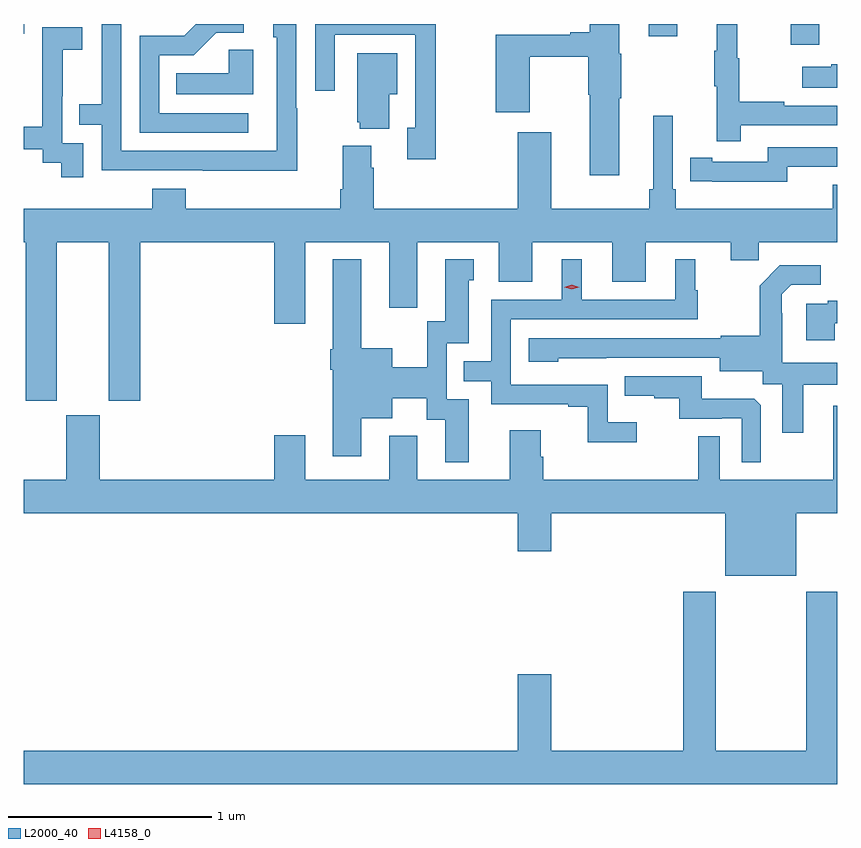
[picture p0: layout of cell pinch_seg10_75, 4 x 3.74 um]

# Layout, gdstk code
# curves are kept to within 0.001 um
import gdstk
lib = gdstk.Library(unit=1e-6, precision=1e-09)
def R(c, l, rs):  # rectangles x0, y0, x1, y1
    for r in rs: c.add(gdstk.rectangle(r[:2], r[2:], *l))
def P(c, l, *ps):  # polygons
    for p in ps: c.add(gdstk.Polygon(p, *l))
L2000_40 = (2000, 40)
L4158_0 = (4158, 0)

pinch_seg10_75 = lib.new_cell('pinch_seg10_75')
R(pinch_seg10_75, L2000_40, [(813.701,1325.262,813.841,1325.364), (813.005,1325.304,813.145,1325.364), (809.931,1325.316,809.934,1325.364)])
P(pinch_seg10_75, L2000_40, [(812.86,1324.999),(812.868,1324.999),(812.868,1325.217),(812.86,1325.217),(812.86,1325.364),(812.714,1325.364),(812.714,1325.323),(812.618,1325.323),(812.618,1325.31),(812.252,1325.31),(812.252,1324.929),(812.418,1324.929),(812.418,1325.202),(812.707,1325.202),(812.707,1325.017),(812.714,1325.017),(812.714,1324.62),(812.86,1324.62)],
  [(813.455,1324.866),(813.931,1324.866),(813.931,1324.962),(813.671,1324.962),(813.671,1324.982),(813.448,1324.982),(813.448,1325.196),(813.44,1325.196),(813.44,1325.364),(813.338,1325.364),(813.338,1325.233),(813.327,1325.233),(813.327,1325.059),(813.338,1325.059),(813.338,1324.788),(813.455,1324.788)],
  [(811.958,1325.364),(811.365,1325.364),(811.365,1325.037),(811.461,1325.037),(811.461,1325.31),(811.857,1325.31),(811.857,1324.854),(811.817,1324.854),(811.817,1324.698),(811.958,1324.698)],
  [(811.036,1324.926),(810.597,1324.926),(810.597,1325.211),(810.766,1325.211),(810.877,1325.322),(811.012,1325.322),(811.012,1325.364),(810.777,1325.364),(810.72,1325.307),(810.501,1325.307),(810.501,1324.83),(811.036,1324.83)],
  [(811.275,1324.949),(811.272,1324.949),(811.272,1325.364),(811.157,1325.364),(811.157,1325.298),(811.176,1325.298),(811.176,1324.74),(810.411,1324.74),(810.411,1325.364),(810.315,1325.364),(810.315,1324.97),(810.205,1324.97),(810.205,1324.869),(810.315,1324.869),(810.315,1324.644),(810.811,1324.644),(810.811,1324.643),(811.275,1324.643)],
  [(810.225,1324.779),(810.12,1324.779),(810.12,1325.009),(810.122,1325.009),(810.122,1325.237),(810.22,1325.237),(810.22,1325.347),(810.022,1325.347),(810.022,1325.141),(810.023,1325.141),(810.023,1324.858),(809.931,1324.858),(809.931,1324.749),(810.024,1324.749),(810.024,1324.681),(810.117,1324.681),(810.117,1324.611),(810.225,1324.611)],
  [(811.06,1325.237),(810.939,1325.237),(810.939,1325.122),(810.682,1325.122),(810.682,1325.018),(811.06,1325.018)],
  [(811.729,1325.018),(811.768,1325.018),(811.768,1325.221),(811.571,1325.221),(811.571,1324.881),(811.583,1324.881),(811.583,1324.85),(811.729,1324.85)],
  [(813.931,1325.165),(813.902,1325.165),(813.902,1325.155),(813.759,1325.155),(813.759,1325.051),(813.931,1325.051)],
  [(810.094,1324.292),(810.35,1324.292),(810.35,1323.513),(810.503,1323.513),(810.503,1324.292),(811.163,1324.292),(811.163,1323.891),(811.315,1323.891),(811.315,1324.292),(811.727,1324.292),(811.727,1323.969),(811.867,1323.969),(811.867,1324.292),(812.267,1324.292),(812.267,1324.098),(812.431,1324.098),(812.431,1324.292),(812.825,1324.292),(812.825,1324.098),(812.989,1324.098),(812.989,1324.292),(813.407,1324.292),(813.407,1324.202),(813.545,1324.202),(813.545,1324.292),(813.931,1324.292),(813.931,1324.573),(813.908,1324.573),(813.908,1324.456),(813.137,1324.456),(813.137,1324.552),(813.123,1324.552),(813.123,1324.912),(813.026,1324.912),(813.026,1324.552),(813.007,1324.552),(813.007,1324.456),(812.524,1324.456),(812.524,1324.831),(812.36,1324.831),(812.36,1324.456),(811.652,1324.456),(811.652,1324.658),(811.639,1324.658),(811.639,1324.765),(811.499,1324.765),(811.499,1324.552),(811.487,1324.552),(811.487,1324.456),(810.728,1324.456),(810.728,1324.555),(810.563,1324.555),(810.563,1324.456),(809.931,1324.456),(809.931,1324.292),(809.942,1324.292),(809.942,1323.513),(810.094,1323.513)],
  [(813.684,1324.662),(813.931,1324.662),(813.931,1324.758),(813.588,1324.758),(813.588,1324.686),(813.316,1324.686),(813.316,1324.706),(813.208,1324.706),(813.208,1324.59),(813.316,1324.59),(813.316,1324.589),(813.684,1324.589)],
  [(812.119,1323.519),(812.01,1323.519),(812.01,1323.795),(812.119,1323.795),(812.119,1324.104),(812.143,1324.104),(812.143,1324.207),(812.003,1324.207),(812.003,1323.903),(811.914,1323.903),(811.914,1323.676),(811.744,1323.676),(811.744,1323.769),(811.591,1323.769),(811.591,1324.207),(811.451,1324.207),(811.451,1323.765),(811.439,1323.765),(811.439,1323.665),(811.451,1323.665),(811.451,1323.24),(811.591,1323.24),(811.591,1323.425),(811.744,1323.425),(811.744,1323.524),(811.913,1323.524),(811.913,1323.418),(812.003,1323.418),(812.003,1323.21),(812.119,1323.21)],
  [(812.944,1323.406),(812.802,1323.406),(812.802,1323.591),(812.325,1323.591),(812.325,1323.912),(813.244,1323.912),(813.244,1324.056),(813.232,1324.056),(813.232,1324.207),(813.134,1324.207),(813.134,1324.008),(812.674,1324.008),(812.674,1324.207),(812.576,1324.207),(812.576,1324.008),(812.229,1324.008),(812.229,1323.705),(812.095,1323.705),(812.095,1323.609),(812.229,1323.609),(812.229,1323.495),(812.609,1323.495),(812.609,1323.483),(812.704,1323.483),(812.704,1323.308),(812.944,1323.308)],
  [(813.763,1323.59),(813.931,1323.59),(813.931,1323.7),(813.66,1323.7),(813.66,1323.941),(813.658,1323.941),(813.658,1324.036),(813.705,1324.083),(813.85,1324.083),(813.85,1324.177),(813.649,1324.177),(813.549,1324.077),(813.549,1323.832),(813.357,1323.832),(813.357,1323.819),(812.415,1323.819),(812.415,1323.704),(812.559,1323.704),(812.559,1323.722),(813.353,1323.723),(813.353,1323.656),(813.564,1323.656),(813.564,1323.592),(813.659,1323.592),(813.659,1323.354),(813.763,1323.354)],
  [(813.919,1323.894),(813.931,1323.894),(813.931,1324.003),(813.883,1324.003),(813.883,1323.99),(813.779,1323.99),(813.779,1323.81),(813.919,1323.81)],
  [(813.555,1323.489),(813.523,1323.521),(813.265,1323.521),(813.265,1323.633),(812.887,1323.633),(812.887,1323.536),(813.031,1323.536),(813.031,1323.525),(813.155,1323.525),(813.155,1323.423),(813.362,1323.423),(813.362,1323.426),(813.462,1323.426),(813.462,1323.209),(813.555,1323.209)],
  [(813.73,1322.96),(813.931,1322.96),(813.931,1323.487),(813.911,1323.487),(813.911,1323.124),(813.354,1323.124),(813.354,1323.338),(813.246,1323.338),(813.246,1323.124),(812.486,1323.124),(812.486,1323.237),(812.473,1323.237),(812.473,1323.367),(812.321,1323.367),(812.321,1323.124),(811.867,1323.124),(811.867,1323.34),(811.727,1323.34),(811.727,1323.124),(811.315,1323.124),(811.315,1323.343),(811.163,1323.343),(811.163,1323.124),(810.304,1323.124),(810.304,1323.441),(810.14,1323.441),(810.14,1323.124),(809.931,1323.124),(809.931,1322.96),(812.36,1322.96),(812.36,1322.772),(812.524,1322.772),(812.524,1322.96),(813.38,1322.96),(813.38,1322.651),(813.73,1322.651)],
  [(813.931,1322.572),(813.778,1322.572),(813.778,1321.792),(813.333,1321.792),(813.333,1322.572),(813.173,1322.572),(813.173,1321.792),(812.524,1321.792),(812.524,1322.167),(812.36,1322.167),(812.36,1321.792),(809.931,1321.792),(809.931,1321.628),(813.931,1321.628)])
P(pinch_seg10_75, L4158_0, [(812.625,1324.061),(812.589,1324.07),(812.589,1324.07),(812.589,1324.07),(812.625,1324.081),(812.661,1324.071),(812.661,1324.071),(812.661,1324.071)])

lib.write_gds('pinch_seg10_75.gds')
